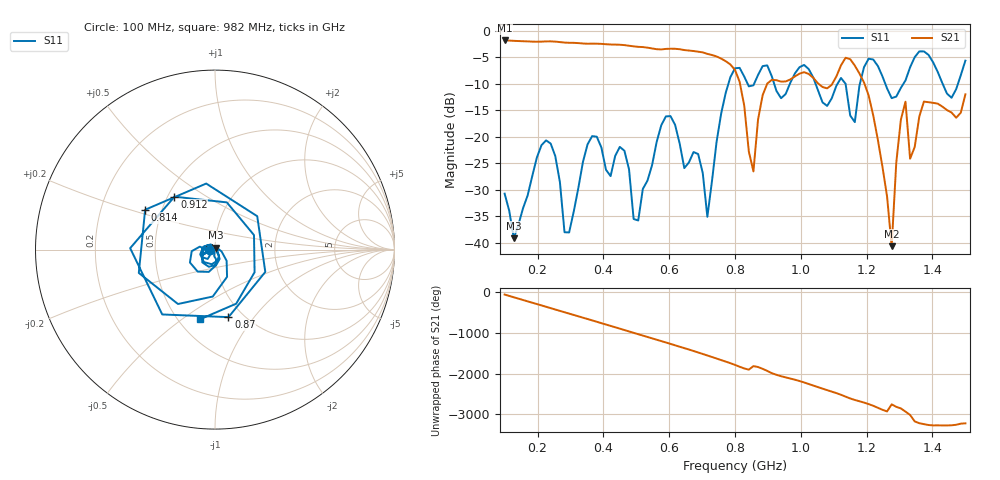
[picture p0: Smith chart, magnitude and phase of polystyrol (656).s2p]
! NanoVNA-App
! Date: 2025-09-25 15:34:59
! Start: 100MHz Stop: 1,5GHz Points: 101
! S-Parameter data: F S11 S21 S12 S22
# Hz S RI R 50
!  Frequency  S11_Real  S11_Imag  S21_Real  S21_Imag  S12_Real  S12_Imag  S22_Real  S22_Imag
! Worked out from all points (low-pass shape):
!   101 points, 100 MHz to 1.5 GHz, reference 50 ohm
!   highest |S21| = -1.80 dB at 100 MHz (marker M1); lowest = -40.6 dB at 1.276 GHz (marker M2)
!   |S21| within 3 dB of the highest: start of sweep to 742.9 MHz
!   lowest |S11| = -39.1 dB at 128 MHz (marker M3), VSWR 1.02, Z = 50.3 + j1.06 ohm
!   |S11| at or under -10 dB: start of sweep to 779.9 MHz; 1.045 GHz to 1.111 GHz (66.39 MHz wide, 6.16 % of centre); 1.257 GHz to 1.311 GHz (54.71 MHz wide, 4.26 % of centre)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
!   S12 and S22 are empty: the file has one direction only
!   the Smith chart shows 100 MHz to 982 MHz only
!   S11 on the Smith chart (normalised r, x): 100 MHz: 0.94, -0.01; 814 MHz: 0.40, +0.22; 870 MHz: 0.86, -0.75; 912 MHz: 0.54, +0.37; 982 MHz: 0.64, -0.59
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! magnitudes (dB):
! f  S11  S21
! 100 MHz  -30.7  -1.8
! 128 MHz  -39.1  -1.9
! 212 MHz  -21.6  -2.0
! 282 MHz  -38.0  -2.2
! 338 MHz  -24.7  -2.4
! 464 MHz  -22.6  -2.7
! 506 MHz  -35.8  -3.0
! 576 MHz  -17.8  -3.5
! 716 MHz  -35.1  -4.3
! 800 MHz  -7.1  -7.4
! 814 MHz  -7.0  -9.6
! 856 MHz  -10.3  -26.5
! 870 MHz  -8.3  -16.7
! 912 MHz  -8.6  -9.2
! 982 MHz  -8.0  -8.6
! 1.038 GHz  -8.8  -8.9
! 1.164 GHz  -17.2  -6.5
! 1.192 GHz  -6.8  -9.7
! 1.276 GHz  -12.7  -40.6
! 1.318 GHz  -9.3  -13.4
! 1.332 GHz  -6.9  -24.1
! 1.5 GHz  -5.6  -12.0
